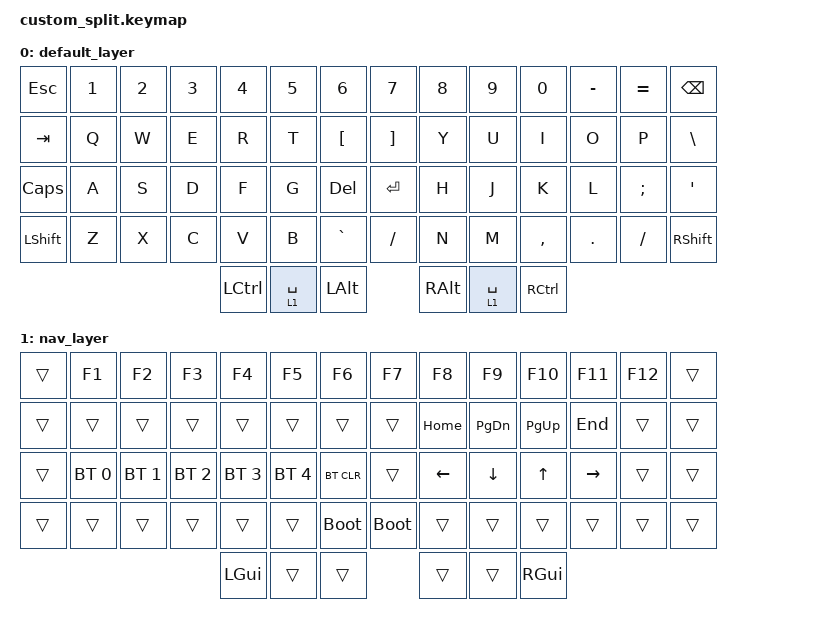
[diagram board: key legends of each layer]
#include <behaviors.dtsi>
#include <dt-bindings/zmk/keys.h>
#include <dt-bindings/zmk/bt.h>
#include <dt-bindings/zmk/outputs.h>

// Hold-tap for Space: tap = Space, hold = Layer 1
/ {
    behaviors {
        lt_spc: layer_tap_space {
            compatible = "zmk,behavior-hold-tap";
            #binding-cells = <2>;
            flavor = "balanced";
            tapping-term-ms = <200>;
            quick-tap-ms = <175>;
            bindings = <&mo>, <&kp>;
        };
    };

    keymap {
        compatible = "zmk,keymap";

        default_layer {
            // ┌─────┬─────┬─────┬─────┬─────┬─────┬─────┐       ┌─────┬─────┬─────┬─────┬─────┬─────┬─────┐
            // │ ESC │  1  │  2  │  3  │  4  │  5  │  6  │       │  7  │  8  │  9  │  0  │  -  │  =  │BKSPC│
            // ├─────┼─────┼─────┼─────┼─────┼─────┼─────┤       ├─────┼─────┼─────┼─────┼─────┼─────┼─────┤
            // │ TAB │  Q  │  W  │  E  │  R  │  T  │  [  │       │  ]  │  Y  │  U  │  I  │  O  │  P  │  \  │
            // ├─────┼─────┼─────┼─────┼─────┼─────┼─────┤       ├─────┼─────┼─────┼─────┼─────┼─────┼─────┤
            // │CAPS │  A  │  S  │  D  │  F  │  G  │ DEL │       │ENTER│  H  │  J  │  K  │  L  │  ;  │  '  │
            // ├─────┼─────┼─────┼─────┼─────┼─────┼─────┤       ├─────┼─────┼─────┼─────┼─────┼─────┼─────┤
            // │SHIFT│  Z  │  X  │  C  │  V  │  B  │  `  │       │  /  │  N  │  M  │  ,  │  .  │  /  │SHIFT│
            // └─────┴─────┴─────┴─────┼─────┼─────┼─────┤       ├─────┼─────┼─────┼─────┴─────┴─────┴─────┘
            //                         │CTRL │SPACE│ ALT │       │ ALT │SPACE│CTRL │
            //                         │     │ /L1 │     │       │     │ /L1 │     │
            //                         └─────┴─────┴─────┘       └─────┴─────┴─────┘
            bindings = <
                &kp ESC   &kp N1  &kp N2  &kp N3    &kp N4    &kp N5     &kp N6       &kp N7     &kp N8       &kp N9    &kp N0    &kp MINUS  &kp EQUAL  &kp BSPC
                &kp TAB   &kp Q   &kp W   &kp E     &kp R     &kp T      &kp LBKT     &kp RBKT   &kp Y        &kp U     &kp I     &kp O      &kp P      &kp BSLH
                &kp CAPS  &kp A   &kp S   &kp D     &kp F     &kp G      &kp DEL      &kp RET    &kp H        &kp J     &kp K     &kp L      &kp SEMI   &kp SQT
                &kp LSHFT &kp Z   &kp X   &kp C     &kp V     &kp B      &kp GRAVE    &kp FSLH   &kp N        &kp M     &kp COMMA &kp DOT    &kp FSLH   &kp RSHFT
                                                     &kp LCTRL &lt_spc 1 SPACE &kp LALT   &kp RALT   &lt_spc 1 SPACE &kp RCTRL
            >;
        };

        nav_layer {
            // ┌─────┬─────┬─────┬─────┬─────┬─────┬─────┐       ┌─────┬─────┬─────┬─────┬─────┬─────┬─────┐
            // │     │ F1  │ F2  │ F3  │ F4  │ F5  │ F6  │       │ F7  │ F8  │ F9  │ F10 │ F11 │ F12 │     │
            // ├─────┼─────┼─────┼─────┼─────┼─────┼─────┤       ├─────┼─────┼─────┼─────┼─────┼─────┼─────┤
            // │     │     │     │     │     │     │     │       │     │HOME │PG_DN│PG_UP│ END │     │     │
            // ├─────┼─────┼─────┼─────┼─────┼─────┼─────┤       ├─────┼─────┼─────┼─────┼─────┼─────┼─────┤
            // │     │BT 0 │BT 1 │BT 2 │BT 3 │BT 4 │BTCLR│       │     │LEFT │DOWN │ UP  │RIGHT│     │     │
            // ├─────┼─────┼─────┼─────┼─────┼─────┼─────┤       ├─────┼─────┼─────┼─────┼─────┼─────┼─────┤
            // │     │     │     │     │     │     │BOOT │       │BOOT │     │     │     │     │     │     │
            // └─────┴─────┴─────┴─────┼─────┼─────┼─────┤       ├─────┼─────┼─────┼─────┴─────┴─────┴─────┘
            //                         │ GUI │     │     │       │     │     │ GUI │
            //                         └─────┴─────┴─────┘       └─────┴─────┴─────┘
            bindings = <
                &trans     &kp F1       &kp F2       &kp F3       &kp F4       &kp F5       &kp F6         &kp F7       &kp F8    &kp F9     &kp F10   &kp F11  &kp F12  &trans
                &trans     &trans       &trans       &trans       &trans       &trans       &trans         &trans       &kp HOME  &kp PG_DN  &kp PG_UP &kp END  &trans   &trans
                &trans     &bt BT_SEL 0 &bt BT_SEL 1 &bt BT_SEL 2 &bt BT_SEL 3 &bt BT_SEL 4 &bt BT_CLR     &trans       &kp LEFT  &kp DOWN   &kp UP    &kp RIGHT &trans  &trans
                &trans     &trans       &trans       &trans       &trans       &trans       &bootloader    &bootloader  &trans    &trans     &trans    &trans   &trans   &trans
                                                                  &kp LGUI     &trans       &trans         &trans       &trans    &kp RGUI
            >;
        };
    };
};
